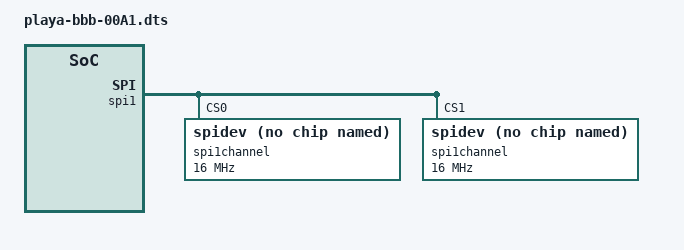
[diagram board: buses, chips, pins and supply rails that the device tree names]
/*
 * Copyright 2019
 * Petre Rodan <2b4eda@subdimension.ro>
 * 
 * This program is free software; you can redistribute it and/or modify
 * it under the terms of the GNU General Public License as published by
 * the Free Software Foundation; either version 2 of the License, or
 * (at your option) any later version.
 * 
 * This program is distributed in the hope that it will be useful,
 * but WITHOUT ANY WARRANTY; without even the implied warranty of
 * MERCHANTABILITY or FITNESS FOR A PARTICULAR PURPOSE.  See the
 * GNU General Public License for more details.
 * 
 */

#include <dt-bindings/gpio/gpio.h>
#include <dt-bindings/pinctrl/am33xx.h>
#include <dt-bindings/board/am335x-bbw-bbb-base.h>
#include <dt-bindings/interrupt-controller/irq.h>

/dts-v1/;
/plugin/;

/ {
    compatible = "ti,beaglebone-black";
    part-number = "playa";
    version = "00A1";

    exclusive-use = 
        "P9.25",  // VS1063 DREQ IRQ
        "P9.27",  // VS1063 XRESET
        "P9.42",  // VS1063 SPI CS command
        "P9.28",  // VS1063 SPI CS data
        "P9.29",  // SPI MISO
        "P9.30",  // SPI MOSI
        "P9.31",  // SPI SCLK
        "spi1";

    fragment@0 {
        target = <&am33xx_pinmux>;
        __overlay__ {
            mux_helper_pins:pins {
                pinctrl-single,pins = < 
                    AM33XX_IOPAD(0x09ac, PIN_INPUT_PULLDOWN | MUX_MODE7)  // dreq IRQ
                    AM33XX_IOPAD(0x09a4, PIN_OUTPUT | MUX_MODE7)          // xreset
                    AM33XX_IOPAD(0x0964, PIN_OUTPUT | MUX_MODE2)          // cs command
                    AM33XX_IOPAD(0x099c, PIN_OUTPUT | MUX_MODE3)          // cs data
                    AM33XX_IOPAD(0x0994, PIN_INPUT_PULLUP | MUX_MODE3)    // spi1 miso
                    AM33XX_IOPAD(0x0998, PIN_OUTPUT | MUX_MODE3)          // spi1 mosi
                    AM33XX_IOPAD(0x0990, PIN_INPUT_PULLUP | MUX_MODE3)    // spi1 clk
                    >;
            };
        };
    };

// activate mux_helper_pins
    fragment@1 {
        target = <&ocp>;
        __overlay__ {
            test_helper:helper {
                compatible = "bone-pinmux-helper";
                pinctrl-names = "default";
                pinctrl-0 = <&mux_helper_pins>;
                status = "okay";
            };
        };
    };

// spi
    fragment@2 {
        target = <&spi1>;
        __overlay__ {

            #address-cells = <1>;
            #size-cells = <0>;
            status = "okay";

            spi1channel@0 {
                spi-max-frequency = <16000000>;
                reg = <0>;
                compatible = "linux,spidev";
            };
            spi1channel@1 {
                spi-max-frequency = <16000000>;
                reg = <1>;
                compatible = "linux,spidev";
            };
        };
    };
};
